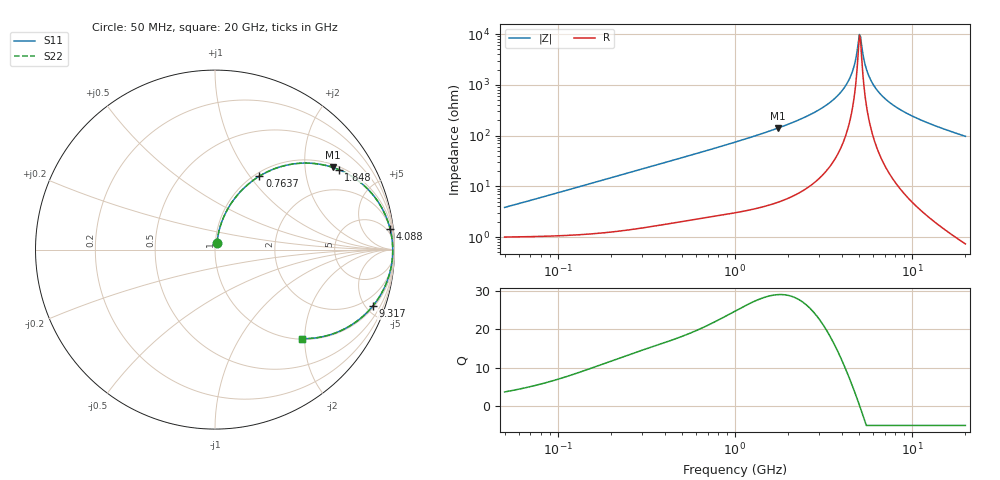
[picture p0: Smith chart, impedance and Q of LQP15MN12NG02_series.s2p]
!Murata Part Number: LQP15MN12NG02
!These Parameters are Measured in Series Mode Connection
!  o--[Z]--o
!Port1  Port2
!  o-------o
!Freq. Start=50[MHz] Stop=20[GHz], 401[Steps]
# Hz S RI R 50
!Freq.(Hz) S11(Real) S11(Imag) S21(Real) S21(Imag) S12(Real) S12(Imag) S22(Real) S22(Imag)
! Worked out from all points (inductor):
!   401 points, 50 MHz to 20 GHz, reference 50 ohm
!   read as one part in series: L = 11.8 nH near 51.52 MHz
!   highest Q = 29 at 1.741 GHz (marker M1), where L = 12.8 nH
!   self-resonance near 5.041 GHz
!   S11 on the Smith chart (normalised r, x): 50 MHz: 1.02, +0.07; 763.7 MHz: 1.05, +1.12; 1.848 GHz: 1.10, +3.01; 4.088 GHz: 2, +16; 9.317 GHz: 1.13, -5.51; 20 GHz: 1.01, -1.93
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5e7  0.0112 0.0362  0.9888 -0.0362  0.9888 -0.0362  0.0112 0.0362
1.364002e8  0.0208 0.0975  0.9792 -0.0975  0.9792 -0.0975  0.0208 0.0975
3.721004e8  0.0823 0.2454  0.9177 -0.2454  0.9177 -0.2454  0.0823 0.2454
7.636728e8  0.2479 0.4095  0.7521 -0.4095  0.7521 -0.4095  0.2479 0.4095
1e9  0.3596 0.4601  0.6404 -0.4601  0.6404 -0.4601  0.3596 0.4601
1.740566e9  0.6557 0.4582  0.3443 -0.4582  0.3443 -0.4582  0.6557 0.4582
1.848039e9  0.6883 0.4463  0.3117 -0.4463  0.3117 -0.4463  0.6883 0.4463
2.728004e9  0.8705 0.3162  0.1295 -0.3162  0.1295 -0.3162  0.8705 0.3162
3.466789e9  0.9444 0.2028  0.0556 -0.2028  0.0556 -0.2028  0.9444 0.2028
4.087748e9  0.9752 0.1167  0.0248 -0.1167  0.0248 -0.1167  0.9752 0.1167
4.608136e9  0.9871 0.0518  0.0129 -0.0518  0.0129 -0.0518  0.9871 0.0518
4.748272e9  0.9887 0.0355  0.0113 -0.0355  0.0113 -0.0355  0.9887 0.0355
4.966507e9  0.9901 0.0108  0.00991 -0.0108  0.00991 -0.0108  0.9901 0.0108
5.041459e9  0.9903 0.00262  0.00973 -0.00262  0.00973 -0.00262  0.9903 0.00262
5.194772e9  0.9902 -0.0138  0.0098 0.0138  0.0098 0.0138  0.9902 -0.0138
5.515528e9  0.9884 -0.0467  0.0116 0.0467  0.0116 0.0467  0.9884 -0.0467
5.856089e9  0.9844 -0.0795  0.0156 0.0795  0.0156 0.0795  0.9844 -0.0795
6.503449e9  0.972 -0.1362  0.028 0.1362  0.028 0.1362  0.972 -0.1362
7.442007e9  0.9461 -0.2071  0.0539 0.2071  0.0539 0.2071  0.9461 -0.2071
9.316812e9  0.8781 -0.3159  0.1219 0.3159  0.1219 0.3159  0.8781 -0.3159
1.396067e10  0.6879 -0.4574  0.3121 0.4574  0.3121 0.4574  0.6879 -0.4574
2e10  0.483 -0.4959  0.517 0.4959  0.517 0.4959  0.483 -0.4959
